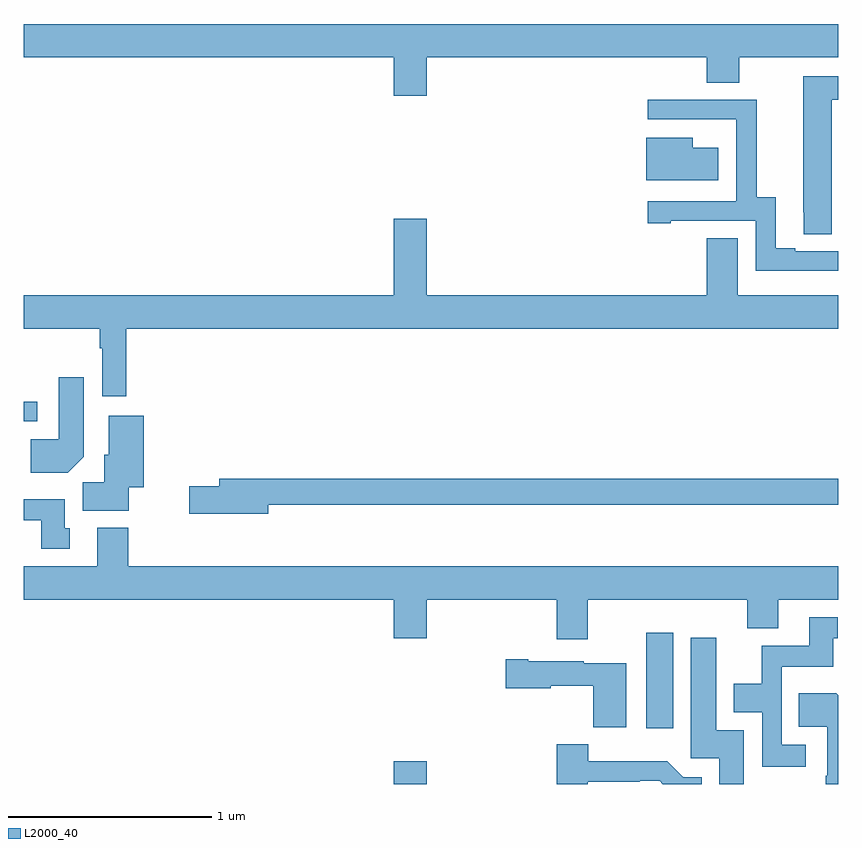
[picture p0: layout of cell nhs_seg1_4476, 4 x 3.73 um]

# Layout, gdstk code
import gdstk
lib = gdstk.Library(unit=1e-6, precision=1e-09)
def R(c, l, rs):  # rectangles x0, y0, x1, y1
    for r in rs: c.add(gdstk.rectangle(r[:2], r[2:], *l))
def P(c, l, *ps):  # polygons
    for p in ps: c.add(gdstk.Polygon(p, *l))
L2000_40 = (2000, 40)

nhs_seg1_4476 = lib.new_cell('nhs_seg1_4476')
R(nhs_seg1_4476, L2000_40, [(356.816,512.199,356.98,512.311), (358.058,512.472,358.189,512.941), (355,513.981,355.066,514.077)])
P(nhs_seg1_4476, L2000_40, [(356.98,515.768),(358.355,515.768),(358.355,515.644),(358.515,515.644),(358.515,515.768),(359,515.768),(359,515.932),(355,515.932),(355,515.768),(356.816,515.768),(356.816,515.58),(356.98,515.58)],
  [(358.969,515.56),(359,515.56),(359,515.676),(358.829,515.676),(358.829,515.008),(358.83,515.008),(358.83,514.9),(358.969,514.9)],
  [(359,514.815),(358.789,514.815),(358.789,514.83),(358.693,514.83),(358.693,515.081),(358.599,515.081),(358.599,515.559),(358.065,515.559),(358.065,515.463),(358.499,515.463),(358.499,515.462),(358.5,515.462),(358.5,515.061),(358.065,515.061),(358.065,514.953),(358.177,514.953),(358.177,514.965),(358.596,514.965),(358.596,514.719),(359,514.719)],
  [(358.411,515.323),(358.285,515.323),(358.285,515.374),(358.058,515.374),(358.058,515.165),(358.411,515.165)],
  [(355.502,514.436),(359,514.436),(359,514.6),(358.507,514.6),(358.507,514.88),(358.355,514.88),(358.355,514.6),(356.98,514.6),(356.98,514.975),(356.816,514.975),(356.816,514.6),(355,514.6),(355,514.436),(355.374,514.436),(355.374,514.34),(355.386,514.34),(355.386,514.104),(355.502,514.104)],
  [(355.294,513.806),(355.294,514.198),(355.172,514.198),(355.172,513.892),(355.033,513.892),(355.033,513.728),(355.216,513.728)],
  [(355.516,513.656),(355.589,513.656),(355.589,514.009),(355.418,514.009),(355.418,513.816),(355.394,513.816),(355.394,513.68),(355.289,513.68),(355.289,513.542),(355.516,513.542)],
  [(356.2,513.57),(359,513.57),(359,513.698),(355.961,513.698),(355.961,513.662),(355.812,513.662),(355.812,513.527),(356.2,513.527)],
  [(355.225,513.456),(355.201,513.456),(355.201,513.598),(355,513.598),(355,513.494),(355.085,513.494),(355.085,513.354),(355.225,513.354)],
  [(357.769,513.104),(358.553,513.104),(358.553,512.963),(358.705,512.963),(358.705,513.104),(359,513.104),(359,513.268),(355.514,513.268),(355.514,513.457),(355.361,513.457),(355.361,513.268),(355,513.268),(355,513.104),(356.816,513.104),(356.816,512.916),(356.98,512.916),(356.98,513.104),(357.617,513.104),(357.617,512.91),(357.769,512.91)],
  [(358.84,512.391),(358.722,512.391),(358.722,512.774),(358.975,512.774),(358.975,512.916),(358.999,512.916),(358.999,513.019),(358.859,513.019),(358.859,512.878),(358.624,512.878),(358.624,512.692),(358.487,512.692),(358.487,512.552),(358.626,512.552),(358.626,512.283),(358.84,512.283)],
  [(358.537,512.464),(358.402,512.464),(358.402,512.917),(358.277,512.917),(358.277,512.325),(358.415,512.325),(358.415,512.199),(358.537,512.199)],
  [(357.958,512.791),(357.75,512.791),(357.75,512.803),(357.478,512.803),(357.478,512.811),(357.366,512.811),(357.366,512.669),(357.588,512.669),(357.588,512.681),(357.796,512.681),(357.796,512.477),(357.958,512.477)],
  [(359,512.634),(358.99,512.644),(358.807,512.644),(358.807,512.48),(358.946,512.48),(358.946,512.239),(358.939,512.239),(358.939,512.199),(359,512.199)],
  [(357.769,512.211),(358.025,512.211),(358.025,512.214),(358.124,512.214),(358.139,512.199),(358.33,512.199),(358.33,512.232),(358.239,512.232),(358.161,512.311),(357.772,512.311),(357.772,512.395),(357.617,512.395),(357.617,512.199),(357.769,512.199)])

lib.write_gds('nhs_seg1_4476.gds')
